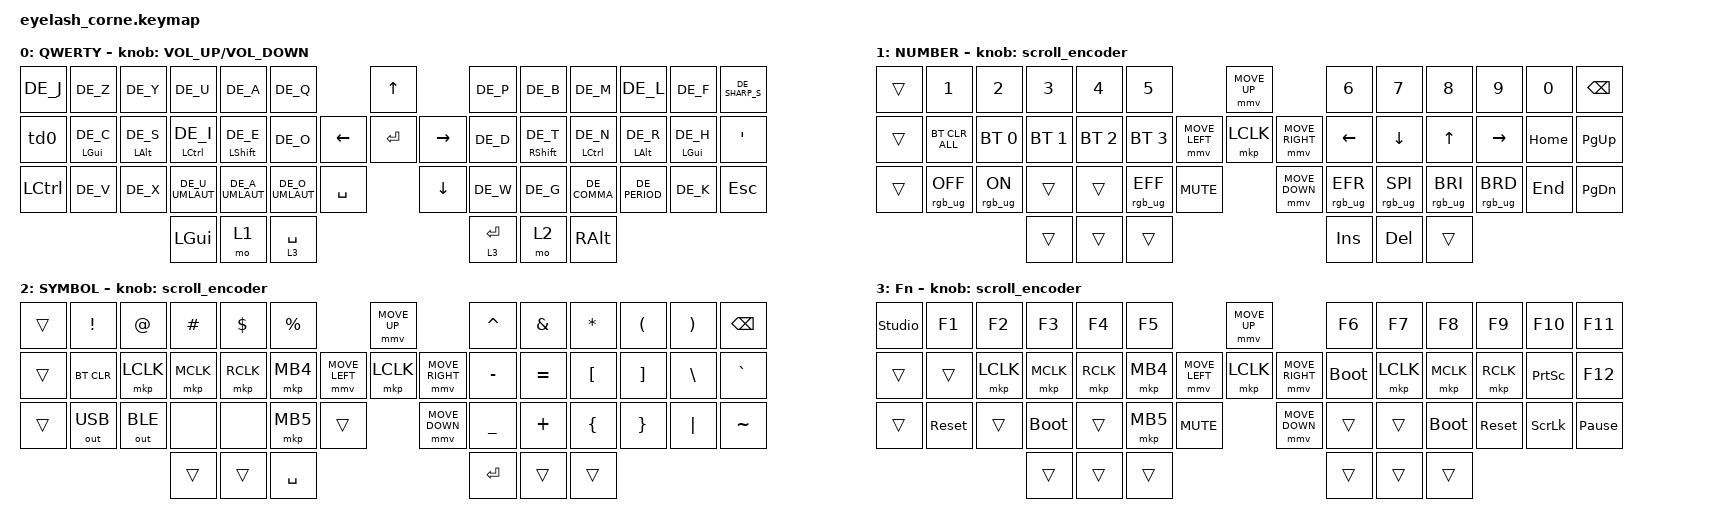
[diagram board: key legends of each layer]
#include "keys_de.h"
#include <dt-bindings/zmk/mouse.h>
#include <input/processors.dtsi>
#include <behaviors.dtsi>
#include <dt-bindings/zmk/bt.h>
#include <dt-bindings/zmk/keys.h>
#include <dt-bindings/zmk/outputs.h>
#include <dt-bindings/zmk/pointing.h>
#include <dt-bindings/zmk/pointing.h>
#include <dt-bindings/zmk/pointing.h>
#include <dt-bindings/zmk/rgb.h>

/*

   &mmv_input_listener {
       input-processors = <&zip_xy_scaler 2 1>;
   };

   &msc_input_listener {
       input-processors = <&zip_xy_scaler 2 1>;
   };

 */

#define ZMK_MOUSE_DEFAULT_MOVE_VAL 1200  // 600
#define ZMK_MOUSE_DEFAULT_SCRL_VAL 20    // 10

/ {
    behaviors {
        td0: td0 {
            compatible = "zmk,behavior-tap-dance";
            display-name = "Shift/Caps Lock Tap Dance";
            #binding-cells = <0>;
            bindings = <&kp LEFT_SHIFT>, <&kp CAPS>;
        };

        HMR: HMR {
            compatible = "zmk,behavior-hold-tap";
            label = "HMR";
            bindings = <&kp>, <&kp>;

            #binding-cells = <2>;
            tapping-term-ms = <200>;
            quick-tap-ms = <175>;
            flavor = "tap-preferred";
            hold-trigger-on-release;
            hold-trigger-key-positions = <0 1 2 3 4 5 13 14 15 16 17 18 28 29 30 31 32 33 34 42 43 44 45 46 47>;
        };

        HML: HML {
            compatible = "zmk,behavior-hold-tap";
            label = "HML";
            bindings = <&kp>, <&kp>;

            #binding-cells = <2>;
            tapping-term-ms = <200>;
            quick-tap-ms = <175>;
            flavor = "tap-preferred";
            hold-trigger-on-release;
            hold-trigger-key-positions = <7 8 9 10 11 12 22 23 24 25 26 27 36 37 38 39 40 41 45 46 47 42 43 44>;
        };
    };

    rgb_encoder: rgb_encoder {
        compatible = "zmk,behavior-sensor-rotate";
        #sensor-binding-cells = <0>;
        bindings = <&rgb_ug RGB_BRI>, <&rgb_ug RGB_BRD>;
    };

    scroll_encoder: scroll_encoder {
        compatible = "zmk,behavior-sensor-rotate";
        #sensor-binding-cells = <0>;
        bindings = <&msc SCRL_DOWN>, <&msc SCRL_UP>;

        tap-ms = <30>;
    };

    keymap {
        compatible = "zmk,keymap";

        default_layer {
            display-name = "QWERTY";
            bindings = <
&kp DE_J   &kp DE_Z            &kp DE_Y            &kp DE_U                &kp DE_A              &kp DE_Q                                &kp UP                &kp DE_P     &kp DE_B               &kp DE_M                &kp DE_L            &kp DE_F            &kp DE_SHARP_S
&td0       &HML LEFT_GUI DE_C  &HML LEFT_ALT DE_S  &HML LEFT_CONTROL DE_I  &HML LEFT_SHIFT DE_E  &kp DE_O                      &kp LEFT  &kp ENTER  &kp RIGHT  &kp DE_D     &HMR RIGHT_SHIFT DE_T  &HMR LEFT_CONTROL DE_N  &HMR LEFT_ALT DE_R  &HMR LEFT_GUI DE_H  &kp SQT
&kp LCTRL  &kp DE_V            &kp DE_X            &kp DE_U_UMLAUT         &kp DE_A_UMLAUT       &kp DE_O_UMLAUT  &kp SPACE              &kp DOWN              &kp DE_W     &kp DE_G               &kp DE_COMMA            &kp DE_PERIOD       &kp DE_K            &kp ESC
                                                   &kp LGUI                &mo 1                 &lt 3 SPACE                                                   &lt 3 ENTER  &mo 2                  &kp RALT
            >;

            sensor-bindings = <&inc_dec_kp C_VOLUME_UP C_VOLUME_DOWN>;
        };

        lower_layer {
            display-name = "NUMBER";
            bindings = <
&trans  &kp N1           &kp N2          &kp N3        &kp N4        &kp N5                                         &mmv MOVE_UP                     &kp N6           &kp N7           &kp N8           &kp N9           &kp N0    &kp BSPC
&trans  &bt BT_CLR_ALL   &bt BT_SEL 0    &bt BT_SEL 1  &bt BT_SEL 2  &bt BT_SEL 3                   &mmv MOVE_LEFT  &mkp LCLK       &mmv MOVE_RIGHT  &kp LEFT         &kp DOWN         &kp UP           &kp RIGHT        &kp HOME  &kp PG_UP
&trans  &rgb_ug RGB_OFF  &rgb_ug RGB_ON  &trans        &trans        &rgb_ug RGB_EFF  &kp C_MUTE                    &mmv MOVE_DOWN                   &rgb_ug RGB_EFR  &rgb_ug RGB_SPI  &rgb_ug RGB_BRI  &rgb_ug RGB_BRD  &kp END   &kp PG_DN
                                         &trans        &trans        &trans                                                                          &kp INS          &kp DEL          &trans
            >;

            sensor-bindings = <&scroll_encoder>;
        };

        raise_layer {
            display-name = "SYMBOL";
            bindings = <
&trans  &kp EXCL      &kp AT        &kp HASH   &kp DLLR   &kp PRCNT                            &mmv MOVE_UP                     &kp CARET  &kp AMPS   &kp ASTRK  &kp LPAR  &kp RPAR  &kp BSPC
&trans  &bt BT_CLR    &mkp LCLK     &mkp MCLK  &mkp RCLK  &mkp MB4             &mmv MOVE_LEFT  &mkp LCLK       &mmv MOVE_RIGHT  &kp MINUS  &kp EQUAL  &kp LBKT   &kp RBKT  &kp BSLH  &kp GRAVE
&trans  &out OUT_USB  &out OUT_BLE  &none      &none      &mkp MB5   &trans                    &mmv MOVE_DOWN                   &kp UNDER  &kp PLUS   &kp LBRC   &kp RBRC  &kp PIPE  &kp TILDE
                                    &trans     &trans     &kp SPACE                                                             &kp RET    &trans     &trans
            >;

            sensor-bindings = <&scroll_encoder>;
        };

        layer_3 {
            display-name = "Fn";
            bindings = <
&studio_unlock  &kp F1      &kp F2     &kp F3       &kp F4     &kp F5                                  &mmv MOVE_UP                     &kp F6       &kp F7     &kp F8       &kp F9      &kp F10          &kp F11
&trans          &trans      &mkp LCLK  &mkp MCLK    &mkp RCLK  &mkp MB4                &mmv MOVE_LEFT  &mkp LCLK       &mmv MOVE_RIGHT  &bootloader  &mkp LCLK  &mkp MCLK    &mkp RCLK   &kp PRINTSCREEN  &kp F12
&trans          &sys_reset  &trans     &bootloader  &trans     &mkp MB5  &kp C_MUTE                    &mmv MOVE_DOWN                   &trans       &trans     &bootloader  &sys_reset  &kp SCROLLLOCK   &kp PAUSE_BREAK
                                       &trans       &trans     &trans                                                                   &trans       &trans     &trans
            >;

            sensor-bindings = <&scroll_encoder>;
        };
    };
};
